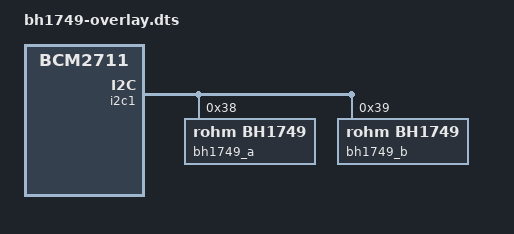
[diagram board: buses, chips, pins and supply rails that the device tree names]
/dts-v1/;
/plugin/;

/ {
    compatible = "brcm,bcm2711";

    fragment@0 {
        target = <&i2c1>;
        __overlay__ {
            #address-cells = <1>;
            #size-cells = <0>;
            status = "okay";

            bh1749_a: light-sensor@38 {
                compatible = "rohm,bh1749";
                reg = <0x38>;
                status = "okay";
            };
            
            bh1749_b: light-sensor@39 {
                compatible = "rohm,bh1749";
                reg = <0x39>;
                status = "okay";
            };
        };
    };
};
